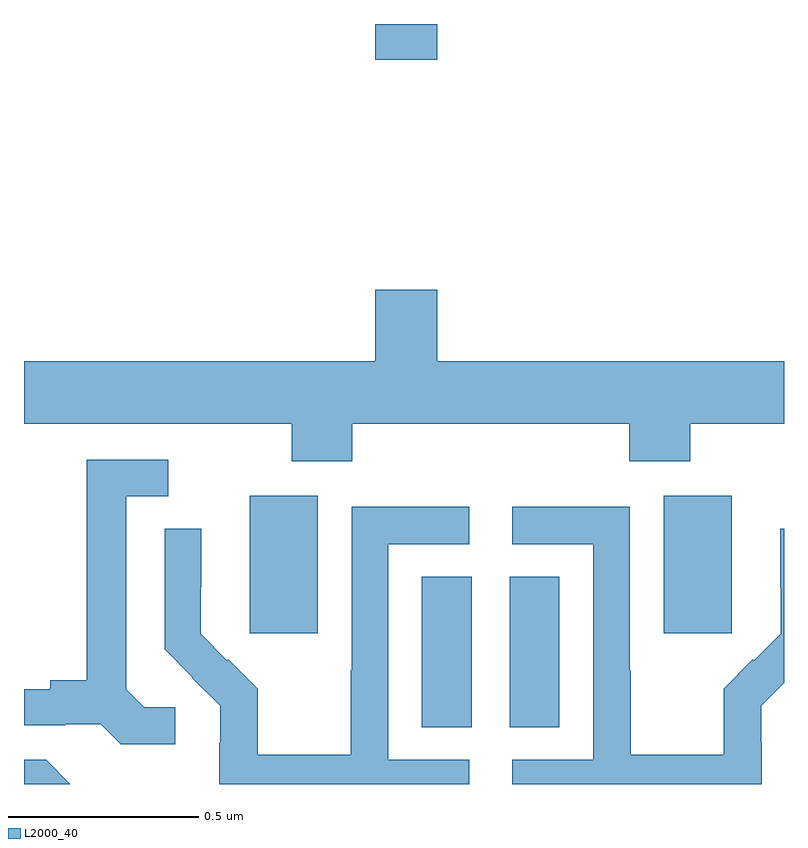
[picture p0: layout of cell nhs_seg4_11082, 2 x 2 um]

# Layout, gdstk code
import gdstk
lib = gdstk.Library(unit=1e-6, precision=1e-09)
def R(c, l, rs):  # rectangles x0, y0, x1, y1
    for r in rs: c.add(gdstk.rectangle(r[:2], r[2:], *l))
def P(c, l, *ps):  # polygons
    for p in ps: c.add(gdstk.Polygon(p, *l))
L2000_40 = (2000, 40)

nhs_seg4_11082 = lib.new_cell('nhs_seg4_11082')
R(nhs_seg4_11082, L2000_40, [(249.047,768.049,249.178,768.446), (249.278,768.049,249.409,768.446), (248.594,768.297,248.773,768.658), (249.683,768.297,249.862,768.658), (248.924,769.806,249.088,769.9)])
P(nhs_seg4_11082, L2000_40, [(248.864,768.848),(249.593,768.848),(249.593,768.749),(249.753,768.749),(249.753,768.848),(250,768.848),(250,769.012),(249.088,769.012),(249.088,769.201),(248.924,769.201),(248.924,769.012),(248,769.012),(248,768.848),(248.704,768.848),(248.704,768.749),(248.864,768.749)],
  [(248.398,768.102),(248.316,768.102),(248.269,768.149),(248.269,768.657),(248.38,768.657),(248.38,768.753),(248.165,768.753),(248.165,768.173),(248.069,768.173),(248.069,768.15),(248,768.15),(248,768.054),(248.108,768.054),(248.108,768.057),(248.202,768.057),(248.254,768.005),(248.398,768.005)],
  [(249.942,768.009),(249.94,768.009),(249.94,768.106),(250,768.166),(250,768.572),(249.99,768.572),(249.99,768.418),(249.992,768.418),(249.992,768.296),(249.921,768.225),(249.918,768.228),(249.841,768.151),(249.841,767.977),(249.597,767.977),(249.597,768.2),(249.594,768.2),(249.594,768.63),(249.285,768.63),(249.285,768.531),(249.498,768.531),(249.498,767.964),(249.285,767.964),(249.285,767.9),(249.942,767.9)],
  [(249.172,767.964),(248.958,767.964),(248.958,768.531),(249.172,768.531),(249.172,768.63),(248.862,768.63),(248.862,768.2),(248.86,768.2),(248.86,767.977),(248.615,767.977),(248.615,768.151),(248.538,768.228),(248.535,768.225),(248.465,768.296),(248.465,768.418),(248.466,768.418),(248.466,768.572),(248.37,768.572),(248.37,768.254),(248.443,768.181),(248.442,768.18),(248.516,768.106),(248.516,768.009),(248.514,768.009),(248.514,767.9),(249.172,767.9)],
  [(248.058,767.964),(248,767.964),(248,767.9),(248.122,767.9)])

lib.write_gds('nhs_seg4_11082.gds')
